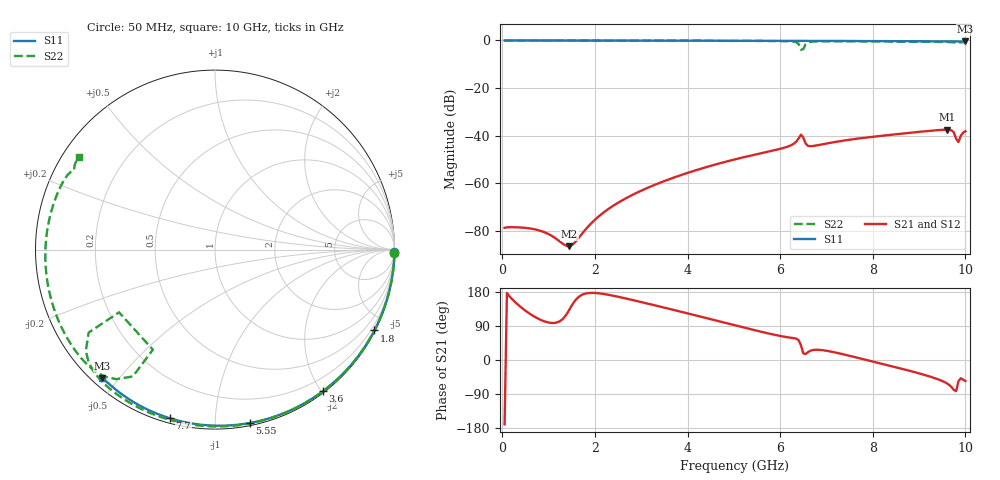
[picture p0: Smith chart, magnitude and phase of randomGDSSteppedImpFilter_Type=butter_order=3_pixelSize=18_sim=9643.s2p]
! freq	dB(S11)	phase(S11)	dB(S12)	phase(S12)
!  dB(S21)	phase(S21)	dB(S22)	phase(S22)
!S-par simulation data
#  GHz  S  DB  R 50
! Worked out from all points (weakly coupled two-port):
!   200 points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, 50 MHz to 10 GHz, reference 50 ohm
!   highest |S21| = -37.46 dB at 9.6 GHz (marker M1); lowest = -86.4 dB at 1.45 GHz (marker M2)
!   lowest |S11| = -0.4 dB at 10 GHz (marker M3), VSWR 39.83, Z = 1.51 - j22.6 ohm
!   |S11| at or under -10 dB: nowhere
!   |S22| runs from -3.9 to 0.0 dB; largest |S21 - S12| = 0
!   S11 on the Smith chart (normalised r, x): 50 MHz: open; 1.8 GHz: 0.04, -4.18; 3.6 GHz: 0.02, -2.02; 5.55 GHz: 0.02, -1.22; 7.7 GHz: 0.02, -0.77; 10 GHz: 0.03, -0.45
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0.05  -0.00 -0.8  -78.73 -169.9  -78.73 -169.9  -0.00 -1.1
1.45  -0.03 -21.8  -86.42 133.2  -86.42 133.2  -0.04 -32.3
1.75  -0.03 -26.2  -80.49 173.5  -80.49 173.5  -0.05 -38.9
1.8  -0.03 -26.9  -79.34 175.4  -79.34 175.4  -0.05 -40.0
2.45  -0.05 -36.4  -68.77 168.2  -68.77 168.2  -0.07 -54.0
3.4  -0.07 -49.8  -59.81 141.1  -59.81 141.1  -0.10 -73.8
3.6  -0.07 -52.6  -58.33 135.2  -58.33 135.2  -0.11 -78.0
5.05  -0.11 -72.1  -49.83 90.8  -49.83 90.8  -0.17 -107.4
5.55  -0.13 -78.6  -47.55 75.7  -47.55 75.7  -0.20 -117.7
6.25  -0.16 -87.4  -43.88 58.4  -43.88 58.4  -0.41 -135.9
6.4  -0.16 -89.3  -41.11 52.2  -41.11 52.2  -1.49 -146.7
6.45  -0.17 -89.9  -39.61 38.5  -39.61 38.5  -3.89 -146.8
6.5  -0.17 -90.5  -40.85 17.5  -40.85 17.5  -3.66 -121.8
6.55  -0.17 -91.1  -43.29 15.7  -43.29 15.7  -1.49 -122.9
6.7  -0.18 -92.9  -44.37 26.1  -44.37 26.1  -0.48 -133.1
7.7  -0.24 -104.9  -41.17 5.0  -41.17 5.0  -0.39 -158.2
8.35  -0.29 -112.5  -39.72 -14.5  -39.72 -14.5  -0.45 -172.8
9.6  -0.41 -126.7  -37.46 -61.7  -37.46 -61.7  -0.66 156.0
9.75  -0.42 -128.4  -38.61 -78.9  -38.61 -78.9  -0.79 151.6
9.85  -0.42 -129.5  -42.69 -56.2  -42.69 -56.2  -0.87 150.2
9.9  -0.42 -130.1  -40.08 -48.2  -40.08 -48.2  -0.79 148.9
10  -0.44 -131.3  -38.13 -55.6  -38.13 -55.6  -0.74 145.7
